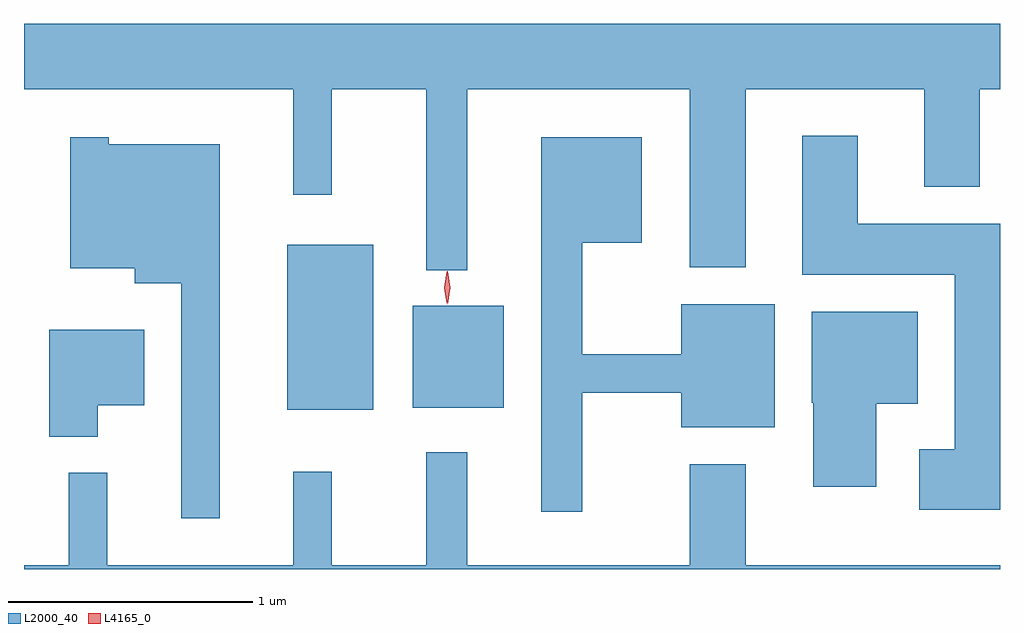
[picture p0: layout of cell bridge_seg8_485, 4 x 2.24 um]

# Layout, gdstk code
import gdstk
lib = gdstk.Library(unit=1e-6, precision=1e-09)
def R(c, l, rs):  # rectangles x0, y0, x1, y1
    for r in rs: c.add(gdstk.rectangle(r[:2], r[2:], *l))
def P(c, l, *ps):  # polygons
    for p in ps: c.add(gdstk.Polygon(p, *l))
L2000_40 = (2000, 40)
L4165_0 = (4165, 0)

bridge_seg8_485 = lib.new_cell('bridge_seg8_485')
R(bridge_seg8_485, L2000_40, [(362.781,1886.161,363.134,1886.839), (363.296,1886.171,363.669,1886.589)])
P(bridge_seg8_485, L2000_40, [(361.702,1887.476),(362.806,1887.476),(362.806,1887.043),(362.964,1887.043),(362.964,1887.476),(363.351,1887.476),(363.351,1886.733),(363.519,1886.733),(363.519,1887.476),(364.431,1887.476),(364.431,1886.746),(364.659,1886.746),(364.659,1887.476),(365.391,1887.476),(365.391,1887.076),(365.619,1887.076),(365.619,1887.476),(365.702,1887.476),(365.702,1887.744),(361.702,1887.744)],
  [(365.702,1886.924),(365.119,1886.924),(365.119,1887.284),(364.891,1887.284),(364.891,1886.716),(365.516,1886.716),(365.516,1885.999),(365.371,1885.999),(365.371,1885.751),(365.702,1885.751)],
  [(363.989,1886.231),(364.396,1886.231),(364.396,1886.091),(364.779,1886.091),(364.779,1886.594),(364.396,1886.594),(364.396,1886.389),(363.989,1886.389),(363.989,1886.846),(364.234,1886.846),(364.234,1887.279),(363.821,1887.279),(363.821,1885.743),(363.989,1885.743)],
  [(362.504,1887.249),(362.049,1887.249),(362.049,1887.279),(361.891,1887.279),(361.891,1886.741),(362.156,1886.741),(362.156,1886.681),(362.346,1886.681),(362.346,1885.718),(362.504,1885.718)],
  [(365.194,1886.186),(365.364,1886.186),(365.364,1886.564),(364.931,1886.564),(364.931,1886.19),(364.936,1886.19),(364.936,1885.846),(365.194,1885.846)],
  [(362.004,1886.181),(362.194,1886.181),(362.194,1886.489),(361.806,1886.489),(361.806,1886.051),(362.004,1886.051)],
  [(362.806,1885.908),(362.806,1885.524),(362.044,1885.524),(362.044,1885.903),(361.886,1885.903),(361.886,1885.524),(361.702,1885.524),(361.702,1885.508),(365.702,1885.508),(365.702,1885.524),(364.659,1885.524),(364.659,1885.939),(364.431,1885.939),(364.431,1885.524),(363.519,1885.524),(363.519,1885.988),(363.351,1885.988),(363.351,1885.524),(362.964,1885.524),(362.964,1885.908)])
P(bridge_seg8_485, L4165_0, [(363.438,1886.594),(363.428,1886.662),(363.437,1886.73),(363.437,1886.73),(363.438,1886.73),(363.448,1886.662),(363.439,1886.594),(363.439,1886.594)],
  [(363.434,1886.598),(363.425,1886.662),(363.434,1886.727),(363.435,1886.727),(363.435,1886.727),(363.445,1886.662),(363.435,1886.598),(363.435,1886.598)])

lib.write_gds('bridge_seg8_485.gds')
